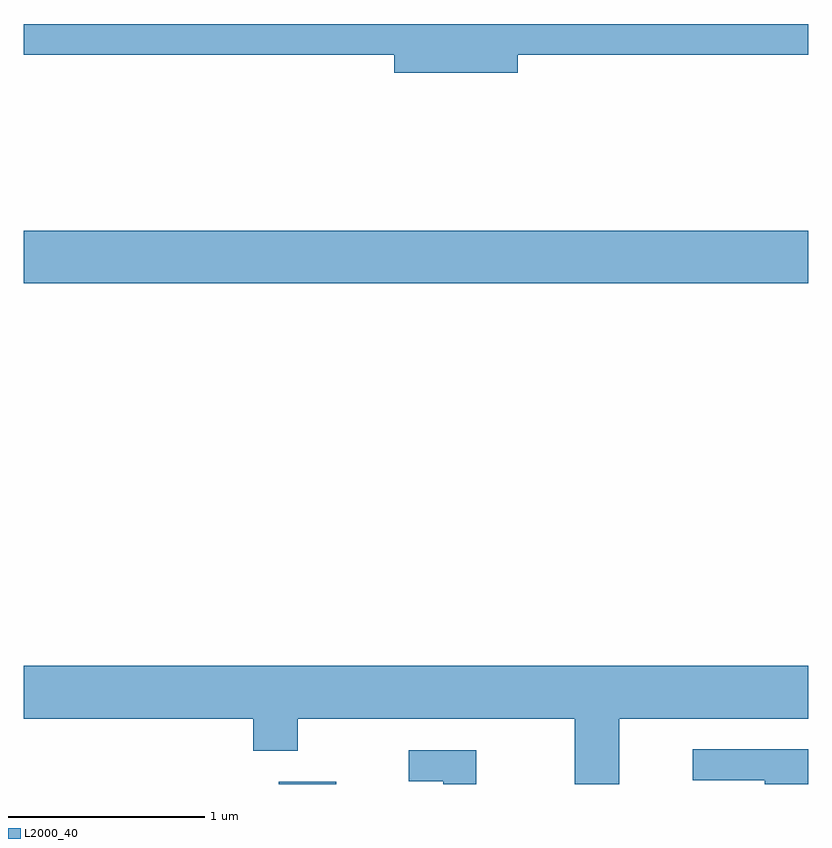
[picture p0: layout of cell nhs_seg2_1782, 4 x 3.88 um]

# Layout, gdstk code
import gdstk
lib = gdstk.Library(unit=1e-6, precision=1e-09)
def R(c, l, rs):  # rectangles x0, y0, x1, y1
    for r in rs: c.add(gdstk.rectangle(r[:2], r[2:], *l))
def P(c, l, *ps):  # polygons
    for p in ps: c.add(gdstk.Polygon(p, *l))
L2000_40 = (2000, 40)

nhs_seg2_1782 = lib.new_cell('nhs_seg2_1782')
R(nhs_seg2_1782, L2000_40, [(238.911,1005.802,239.204,1005.814), (237.611,1008.356,241.611,1008.624)])
P(nhs_seg2_1782, L2000_40, [(240.129,1009.521),(241.611,1009.521),(241.611,1009.679),(237.611,1009.679),(237.611,1009.521),(239.501,1009.521),(239.501,1009.431),(240.129,1009.431)],
  [(240.649,1006.136),(241.611,1006.136),(241.611,1006.404),(237.611,1006.404),(237.611,1006.136),(238.781,1006.136),(238.781,1005.971),(239.009,1005.971),(239.009,1006.136),(240.421,1006.136),(240.421,1005.802),(240.649,1005.802)],
  [(241.611,1005.979),(241.023,1005.979),(241.023,1005.821),(241.391,1005.821),(241.391,1005.802),(241.611,1005.802)],
  [(239.919,1005.974),(239.573,1005.974),(239.573,1005.816),(239.751,1005.816),(239.751,1005.802),(239.919,1005.802)])

lib.write_gds('nhs_seg2_1782.gds')
